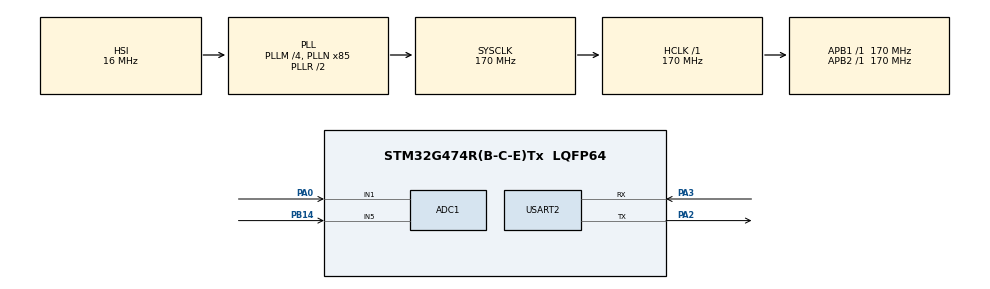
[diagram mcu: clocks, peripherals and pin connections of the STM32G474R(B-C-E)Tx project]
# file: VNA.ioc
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ADC1.Channel-1\#ChannelRegularConversion=ADC_CHANNEL_1
ADC1.Channel-2\#ChannelRegularConversion=ADC_CHANNEL_5
ADC1.ContinuousConvMode=DISABLE
ADC1.DMAContinuousRequests=ENABLE
ADC1.ExternalTrigConv=ADC_EXTERNALTRIG_T2_TRGO
ADC1.NbrOfConversion=2
ADC1.NbrOfConversionFlag=1
ADC1.OffsetNumber-1\#ChannelRegularConversion=ADC_OFFSET_NONE
ADC1.OffsetNumber-2\#ChannelRegularConversion=ADC_OFFSET_NONE
ADC1.Rank-1\#ChannelRegularConversion=1
ADC1.Rank-2\#ChannelRegularConversion=2
ADC1.SamplingTime-1\#ChannelRegularConversion=ADC_SAMPLETIME_2CYCLES_5
ADC1.SamplingTime-2\#ChannelRegularConversion=ADC_SAMPLETIME_2CYCLES_5
ADC1.master=1
Dma.ADC1.0.Direction=DMA_PERIPH_TO_MEMORY
Dma.ADC1.0.EventEnable=DISABLE
Dma.ADC1.0.Instance=DMA1_Channel1
Dma.ADC1.0.MemDataAlignment=DMA_MDATAALIGN_HALFWORD
Dma.ADC1.0.MemInc=DMA_MINC_ENABLE
Dma.ADC1.0.Mode=DMA_CIRCULAR
Dma.ADC1.0.PeriphDataAlignment=DMA_PDATAALIGN_HALFWORD
Dma.ADC1.0.PeriphInc=DMA_PINC_DISABLE
Dma.ADC1.0.Polarity=HAL_DMAMUX_REQ_GEN_RISING
Dma.ADC1.0.Priority=DMA_PRIORITY_LOW
Dma.ADC1.0.RequestNumber=1
Dma.ADC1.0.SignalID=NONE
Dma.ADC1.0.SyncEnable=DISABLE
Dma.ADC1.0.SyncPolarity=HAL_DMAMUX_SYNC_NO_EVENT
Dma.ADC1.0.SyncRequestNumber=1
Dma.ADC1.0.SyncSignalID=NONE
Dma.Request0=ADC1
Mcu.Family=STM32G4
Mcu.Name=STM32G474R(B-C-E)Tx
Mcu.Package=LQFP64
NUCLEO-G474RE.BUTTON=0
NUCLEO-G474RE.LD2=false
NUCLEO-G474RE.VCP=false
NVIC.DMA1_Channel1_IRQn=true\:0\:0\:false\:false\:true\:false\:true\:true
NVIC.PriorityGroup=NVIC_PRIORITYGROUP_4
NVIC.USART2_IRQn=true\:0\:0\:false\:false\:true\:true\:true\:true
PA0.Mode=IN1-Single-Ended
PA0.Signal=ADC1_IN1
PA13.GPIO_Label=T_SWDIO
PA13.Signal=SYS_JTMS-SWDIO
PA14.GPIO_Label=T_SWCLK
PA14.Signal=SYS_JTCK-SWCLK
PA2.Mode=Asynchronous
PA2.Signal=USART2_TX
PA3.Mode=Asynchronous
PA3.Signal=USART2_RX
PB14.Mode=IN5-Single-Ended
PB14.Signal=ADC1_IN5
PB3.GPIO_Label=T_SWO
PB3.Signal=SYS_JTDO-SWO
PC14-OSC32_IN.GPIO_Label=RCC_OSC32_IN
PC14-OSC32_IN.Signal=RCC_OSC32_IN
PC15-OSC32_OUT.GPIO_Label=RCC_OSC32_OUT
PC15-OSC32_OUT.Signal=RCC_OSC32_OUT
PF0-OSC_IN.GPIO_Label=RCC_OSC_IN
PF0-OSC_IN.Signal=RCC_OSC_IN
PF1-OSC_OUT.GPIO_Label=RCC_OSC_OUT
PF1-OSC_OUT.Signal=RCC_OSC_OUT
ProjectManager.HeapSize=0x200
ProjectManager.StackSize=0x400
ProjectManager.TargetToolchain=STM32CubeIDE
RCC.ADC12Freq_Value=170000000
RCC.ADC345Freq_Value=170000000
RCC.AHBFreq_Value=170000000
RCC.APB1Freq_Value=170000000
RCC.APB1TimFreq_Value=170000000
RCC.APB2Freq_Value=170000000
RCC.APB2TimFreq_Value=170000000
RCC.CortexFreq_Value=170000000
RCC.EXTERNAL_CLOCK_VALUE=12288000
RCC.HCLKFreq_Value=170000000
RCC.HSE_VALUE=24000000
RCC.HSI48_VALUE=48000000
RCC.HSI_VALUE=16000000
RCC.LSE_VALUE=32768
RCC.PLLM=RCC_PLLM_DIV4
RCC.PLLN=85
RCC.RTCClockSelection=RCC_RTCCLKSOURCE_LSE
RCC.SYSCLKFreq_VALUE=170000000
RCC.SYSCLKSource=RCC_SYSCLKSOURCE_PLLCLK
RCC.USBFreq_Value=170000000
RCC.VCOOutputFreq_Value=340000000
TIM2.PeriodNoDither=9
TIM2.Prescaler=169
TIM2.TIM_MasterOutputTrigger=TIM_TRGO_UPDATE
USART2.VirtualMode-Asynchronous=VM_ASYNC
VP_NUCLEO-G474RE_VS_BSP_COMMON.Mode=COMMON
VP_SYS_VS_DBSignals.Mode=DisableDeadBatterySignals
VP_TIM2_VS_ClockSourceINT.Mode=Internal
board=NUCLEO-G474RE

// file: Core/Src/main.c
/* USER CODE BEGIN Header */
/**
  ******************************************************************************
  * @file           : main.c
  * @brief          : Main program body
  ******************************************************************************
  * @attention
  *
  * Copyright (c) 2026 STMicroelectronics.
  * All rights reserved.
  *
  * This software is licensed under terms that can be found in the LICENSE file
  * in the root directory of this software component.
  * If no LICENSE file comes with this software, it is provided AS-IS.
  *
  ******************************************************************************
  */
/* USER CODE END Header */
#include "main.h"

/* USER CODE BEGIN Includes */
#include <math.h>
#include <stdio.h>
/* USER CODE END Includes */

ADC_HandleTypeDef hadc1;
DMA_HandleTypeDef hdma_adc1;

TIM_HandleTypeDef htim2;

UART_HandleTypeDef huart2;

/* USER CODE BEGIN PV */
#define NUM_PAIRS 1000
#define TOTAL_SAMPLES (2*NUM_PAIRS)
volatile uint16_t adc_buffer[TOTAL_SAMPLES];
volatile uint8_t dma_complete = 0;
uint8_t rx_byte;

const float cos_ref[10] = {1.0f, 0.809017f, 0.309017f, -0.309017f, -0.809017f,
                          -1.0f, -0.809017f, -0.309017f, 0.309017f, 0.809017f};
const float sin_ref[10] = {0.0f, 0.587785f, 0.951057f, 0.951057f, 0.587785f,
                           0.0f, -0.587785f, -0.951057f, -0.951057f, -0.587785f};
/* USER CODE END PV */

void SystemClock_Config(void);
static void MX_GPIO_Init(void);
static void MX_DMA_Init(void);
static void MX_ADC1_Init(void);
static void MX_TIM2_Init(void);
static void MX_USART2_UART_Init(void);

/* USER CODE BEGIN 0 */

void HAL_ADC_ConvCpltCallback(ADC_HandleTypeDef* hadc) {
    if(hadc->Instance == ADC1) {
        dma_complete = 1;
    }
}
/* USER CODE END 0 */

int main(void)
{

  /* MCU Configuration--------------------------------------------------------*/

  /* Reset of all peripherals, Initializes the Flash interface and the Systick. */
  HAL_Init();

  /* Configure the system clock */
  SystemClock_Config();

  /* Initialize all configured peripherals */
  MX_GPIO_Init();
  MX_DMA_Init();
  MX_ADC1_Init();
  MX_TIM2_Init();
  MX_USART2_UART_Init();
  /* USER CODE BEGIN 2 */
  setvbuf(stdout, NULL, _IONBF, 0);
  HAL_ADCEx_Calibration_Start(&hadc1, ADC_SINGLE_ENDED);
  HAL_UART_Receive_IT(&huart2, &rx_byte, 1);

  /* USER CODE END 2 */

  /* Infinite loop */
  while (1)
  {

    /* USER CODE BEGIN 3 */
	  if (dma_complete) {
	      HAL_TIM_Base_Stop(&htim2);

	      float Ia = 0.0f, Qa = 0.0f;
	      float Ib = 0.0f, Qb = 0.0f;

	      int ref_idx = 0;

	      for (int i = 0; i < NUM_PAIRS; i++) {
	          float va_val = (float)adc_buffer[i * 2] - 2048.0f;
	          float vb_val = (float)adc_buffer[i * 2 + 1] - 2048.0f;

	          Ia += va_val * cos_ref[ref_idx];
	          Qa -= va_val * sin_ref[ref_idx];

	          Ib += vb_val * cos_ref[ref_idx];
	          Qb -= vb_val * sin_ref[ref_idx];

	          ref_idx++;
	          if (ref_idx >= 10) ref_idx = 0;
	      }

	      float scale = 2.0f / (float)NUM_PAIRS;
	      Ia *= scale; Qa *= scale;
	      Ib *= scale; Qb *= scale;

	      const float cos_delay = 0.99802f;
	      const float sin_delay = 0.06279f;
	      float Ib_corr = (Ib * cos_delay) + (Qb * sin_delay);
	      float Qb_corr = (Qb * cos_delay) - (Ib * sin_delay);

	      char tx_buffer[128];
	      int len = snprintf(tx_buffer, sizeof(tx_buffer),
	                         "Ia:%.2f Qa:%.2f Ib:%.2f Qb:%.2f\r\n",
	                         Ia, Qa, Ib_corr, Qb_corr);
	      HAL_UART_Transmit(&huart2, (uint8_t*)tx_buffer, len, HAL_MAX_DELAY);

	      dma_complete = 0;
	  }
}
  /* USER CODE END 3 */
}

void SystemClock_Config(void)
{
  RCC_OscInitTypeDef RCC_OscInitStruct = {0};
  RCC_ClkInitTypeDef RCC_ClkInitStruct = {0};

  /** Configure the main internal regulator output voltage
  */
  HAL_PWREx_ControlVoltageScaling(PWR_REGULATOR_VOLTAGE_SCALE1_BOOST);

  /** Initializes the RCC Oscillators according to the specified parameters
  * in the RCC_OscInitTypeDef structure.
  */
  RCC_OscInitStruct.OscillatorType = RCC_OSCILLATORTYPE_HSI;
  RCC_OscInitStruct.HSIState = RCC_HSI_ON;
  RCC_OscInitStruct.HSICalibrationValue = RCC_HSICALIBRATION_DEFAULT;
  RCC_OscInitStruct.PLL.PLLState = RCC_PLL_ON;
  RCC_OscInitStruct.PLL.PLLSource = RCC_PLLSOURCE_HSI;
  RCC_OscInitStruct.PLL.PLLM = RCC_PLLM_DIV4;
  RCC_OscInitStruct.PLL.PLLN = 85;
  RCC_OscInitStruct.PLL.PLLP = RCC_PLLP_DIV2;
  RCC_OscInitStruct.PLL.PLLQ = RCC_PLLQ_DIV2;
  RCC_OscInitStruct.PLL.PLLR = RCC_PLLR_DIV2;
  if (HAL_RCC_OscConfig(&RCC_OscInitStruct) != HAL_OK)
  {
    Error_Handler();
  }

  /** Initializes the CPU, AHB and APB buses clocks
  */
  RCC_ClkInitStruct.ClockType = RCC_CLOCKTYPE_HCLK|RCC_CLOCKTYPE_SYSCLK
                              |RCC_CLOCKTYPE_PCLK1|RCC_CLOCKTYPE_PCLK2;
  RCC_ClkInitStruct.SYSCLKSource = RCC_SYSCLKSOURCE_PLLCLK;
  RCC_ClkInitStruct.AHBCLKDivider = RCC_SYSCLK_DIV1;
  RCC_ClkInitStruct.APB1CLKDivider = RCC_HCLK_DIV1;
  RCC_ClkInitStruct.APB2CLKDivider = RCC_HCLK_DIV1;

  if (HAL_RCC_ClockConfig(&RCC_ClkInitStruct, FLASH_LATENCY_4) != HAL_OK)
  {
    Error_Handler();
  }
}

static void MX_ADC1_Init(void)
{

  ADC_MultiModeTypeDef multimode = {0};
  ADC_ChannelConfTypeDef sConfig = {0};

  /** Common config
  */
  hadc1.Instance = ADC1;
  hadc1.Init.ClockPrescaler = ADC_CLOCK_SYNC_PCLK_DIV4;
  hadc1.Init.Resolution = ADC_RESOLUTION_12B;
  hadc1.Init.DataAlign = ADC_DATAALIGN_RIGHT;
  hadc1.Init.GainCompensation = 0;
  hadc1.Init.ScanConvMode = ADC_SCAN_ENABLE;
  hadc1.Init.EOCSelection = ADC_EOC_SINGLE_CONV;
  hadc1.Init.LowPowerAutoWait = DISABLE;
  hadc1.Init.ContinuousConvMode = DISABLE;
  hadc1.Init.NbrOfConversion = 2;
  hadc1.Init.DiscontinuousConvMode = DISABLE;
  hadc1.Init.ExternalTrigConv = ADC_EXTERNALTRIG_T2_TRGO;
  hadc1.Init.ExternalTrigConvEdge = ADC_EXTERNALTRIGCONVEDGE_RISING;
  hadc1.Init.DMAContinuousRequests = ENABLE;
  hadc1.Init.Overrun = ADC_OVR_DATA_PRESERVED;
  hadc1.Init.OversamplingMode = DISABLE;
  if (HAL_ADC_Init(&hadc1) != HAL_OK)
  {
    Error_Handler();
  }

  /** Configure the ADC multi-mode
  */
  multimode.Mode = ADC_MODE_INDEPENDENT;
  if (HAL_ADCEx_MultiModeConfigChannel(&hadc1, &multimode) != HAL_OK)
  {
    Error_Handler();
  }

  /** Configure Regular Channel
  */
  sConfig.Channel = ADC_CHANNEL_1;
  sConfig.Rank = ADC_REGULAR_RANK_1;
  sConfig.SamplingTime = ADC_SAMPLETIME_2CYCLES_5;
  sConfig.SingleDiff = ADC_SINGLE_ENDED;
  sConfig.OffsetNumber = ADC_OFFSET_NONE;
  sConfig.Offset = 0;
  if (HAL_ADC_ConfigChannel(&hadc1, &sConfig) != HAL_OK)
  {
    Error_Handler();
  }

  /** Configure Regular Channel
  */
  sConfig.Channel = ADC_CHANNEL_5;
  sConfig.Rank = ADC_REGULAR_RANK_2;
  if (HAL_ADC_ConfigChannel(&hadc1, &sConfig) != HAL_OK)
  {
    Error_Handler();
  }

}

static void MX_TIM2_Init(void)
{

  TIM_ClockConfigTypeDef sClockSourceConfig = {0};
  TIM_MasterConfigTypeDef sMasterConfig = {0};

  htim2.Instance = TIM2;
  htim2.Init.Prescaler = 169;
  htim2.Init.CounterMode = TIM_COUNTERMODE_UP;
  htim2.Init.Period = 9;
  htim2.Init.ClockDivision = TIM_CLOCKDIVISION_DIV1;
  htim2.Init.AutoReloadPreload = TIM_AUTORELOAD_PRELOAD_DISABLE;
  if (HAL_TIM_Base_Init(&htim2) != HAL_OK)
  {
    Error_Handler();
  }
  sClockSourceConfig.ClockSource = TIM_CLOCKSOURCE_INTERNAL;
  if (HAL_TIM_ConfigClockSource(&htim2, &sClockSourceConfig) != HAL_OK)
  {
    Error_Handler();
  }
  sMasterConfig.MasterOutputTrigger = TIM_TRGO_UPDATE;
  sMasterConfig.MasterSlaveMode = TIM_MASTERSLAVEMODE_DISABLE;
  if (HAL_TIMEx_MasterConfigSynchronization(&htim2, &sMasterConfig) != HAL_OK)
  {
    Error_Handler();
  }

}

static void MX_USART2_UART_Init(void)
{

  huart2.Instance = USART2;
  huart2.Init.BaudRate = 115200;
  huart2.Init.WordLength = UART_WORDLENGTH_8B;
  huart2.Init.StopBits = UART_STOPBITS_1;
  huart2.Init.Parity = UART_PARITY_NONE;
  huart2.Init.Mode = UART_MODE_TX_RX;
  huart2.Init.HwFlowCtl = UART_HWCONTROL_NONE;
  huart2.Init.OverSampling = UART_OVERSAMPLING_16;
  huart2.Init.OneBitSampling = UART_ONE_BIT_SAMPLE_DISABLE;
  huart2.Init.ClockPrescaler = UART_PRESCALER_DIV1;
  huart2.AdvancedInit.AdvFeatureInit = UART_ADVFEATURE_NO_INIT;
  if (HAL_UART_Init(&huart2) != HAL_OK)
  {
    Error_Handler();
  }
  if (HAL_UARTEx_SetTxFifoThreshold(&huart2, UART_TXFIFO_THRESHOLD_1_8) != HAL_OK)
  {
    Error_Handler();
  }
  if (HAL_UARTEx_SetRxFifoThreshold(&huart2, UART_RXFIFO_THRESHOLD_1_8) != HAL_OK)
  {
    Error_Handler();
  }
  if (HAL_UARTEx_DisableFifoMode(&huart2) != HAL_OK)
  {
    Error_Handler();
  }

}

static void MX_DMA_Init(void)
{

  /* DMA controller clock enable */
  __HAL_RCC_DMAMUX1_CLK_ENABLE();
  __HAL_RCC_DMA1_CLK_ENABLE();

  /* DMA interrupt init */
  /* DMA1_Channel1_IRQn interrupt configuration */
  HAL_NVIC_SetPriority(DMA1_Channel1_IRQn, 0, 0);
  HAL_NVIC_EnableIRQ(DMA1_Channel1_IRQn);

}

static void MX_GPIO_Init(void)
{

  /* GPIO Ports Clock Enable */
  __HAL_RCC_GPIOC_CLK_ENABLE();
  __HAL_RCC_GPIOF_CLK_ENABLE();
  __HAL_RCC_GPIOA_CLK_ENABLE();
  __HAL_RCC_GPIOB_CLK_ENABLE();

}

/* USER CODE BEGIN 4 */
void HAL_UART_RxCpltCallback(UART_HandleTypeDef *huart) {
    if (huart->Instance == USART2) {
        if (rx_byte == 'M') {
            __HAL_ADC_CLEAR_FLAG(&hadc1, ADC_FLAG_OVR);
            HAL_ADC_Start_DMA(&hadc1, (uint32_t*)adc_buffer, TOTAL_SAMPLES);
            HAL_TIM_Base_Start(&htim2);
        }
        HAL_UART_Receive_IT(&huart2, &rx_byte, 1);
    }
}
/* USER CODE END 4 */

void Error_Handler(void)
{
  __disable_irq();
  while (1)
  {
  }
}
